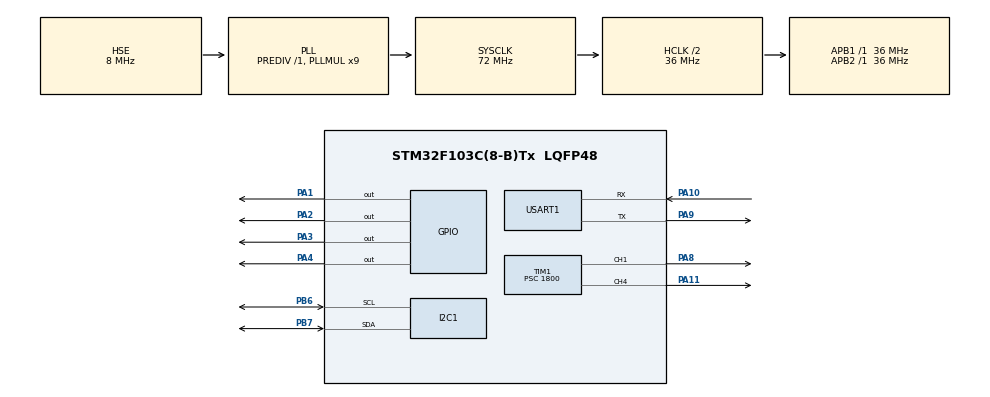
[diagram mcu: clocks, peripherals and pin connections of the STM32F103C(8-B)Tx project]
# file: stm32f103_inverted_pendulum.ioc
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Mcu.Family=STM32F1
Mcu.Name=STM32F103C(8-B)Tx
Mcu.Package=LQFP48
NVIC.PriorityGroup=NVIC_PRIORITYGROUP_4
NVIC.TIM2_IRQn=true\:0\:0\:false\:false\:true\:true
PA1.Signal=GPIO_Output
PA10.Mode=Asynchronous
PA10.Signal=USART1_RX
PA11.Signal=S_TIM1_CH4
PA2.Signal=GPIO_Output
PA3.Signal=GPIO_Output
PA4.Signal=GPIO_Output
PA8.Signal=S_TIM1_CH1
PA9.Mode=Asynchronous
PA9.Signal=USART1_TX
PB6.Mode=I2C
PB6.Signal=I2C1_SCL
PB7.Mode=I2C
PB7.Signal=I2C1_SDA
PD0-OSC_IN.Mode=HSE-External-Oscillator
PD0-OSC_IN.Signal=RCC_OSC_IN
PD1-OSC_OUT.Mode=HSE-External-Oscillator
PD1-OSC_OUT.Signal=RCC_OSC_OUT
ProjectManager.HeapSize=0x200
ProjectManager.StackSize=0x400
ProjectManager.TargetToolchain=SW4STM32
RCC.AHBCLKDivider=RCC_SYSCLK_DIV2
RCC.AHBFreq_Value=36000000
RCC.APB1Freq_Value=36000000
RCC.APB1TimFreq_Value=36000000
RCC.APB2Freq_Value=36000000
RCC.APB2TimFreq_Value=36000000
RCC.HCLKFreq_Value=36000000
RCC.PLLMUL=RCC_PLL_MUL9
RCC.PLLSourceVirtual=RCC_PLLSOURCE_HSE
RCC.SYSCLKFreq_VALUE=72000000
RCC.SYSCLKSource=RCC_SYSCLKSOURCE_PLLCLK
RCC.USBFreq_Value=72000000
SH.S_TIM1_CH1.0=TIM1_CH1,PWM Generation1 CH1
SH.S_TIM1_CH4.0=TIM1_CH4,PWM Generation4 CH4
TIM1.Channel-PWM\ Generation1\ CH1=TIM_CHANNEL_1
TIM1.Channel-PWM\ Generation4\ CH4=TIM_CHANNEL_4
TIM1.Period=100
TIM1.Prescaler=1800
TIM2.Period=20
TIM2.Prescaler=36000
TIM2.TIM_MasterOutputTrigger=TIM_TRGO_UPDATE
USART1.VirtualMode=VM_ASYNC
VP_SYS_VS_ND.Mode=No_Debug
VP_TIM1_VS_ClockSourceINT.Mode=Internal
VP_TIM2_VS_ClockSourceINT.Mode=Internal
board=stm32f103_inverted_pendulum

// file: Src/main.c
/**
 ******************************************************************************
 * File Name          : main.c
 * Description        : Main program body
 ******************************************************************************
 ** This notice applies to any and all portions of this file
 * that are not between comment pairs USER CODE BEGIN and
 * USER CODE END. Other portions of this file, whether
 * inserted by the user or by software development tools
 * are owned by their respective copyright owners.
 *
 * COPYRIGHT(c) 2018 STMicroelectronics
 *
 * Redistribution and use in source and binary forms, with or without modification,
 * are permitted provided that the following conditions are met:
 *   1. Redistributions of source code must retain the above copyright notice,
 *      this list of conditions and the following disclaimer.
 *   2. Redistributions in binary form must reproduce the above copyright notice,
 *      this list of conditions and the following disclaimer in the documentation
 *      and/or other materials provided with the distribution.
 *   3. Neither the name of STMicroelectronics nor the names of its contributors
 *      may be used to endorse or promote products derived from this software
 *      without specific prior written permission.
 *
 * THIS SOFTWARE IS PROVIDED BY THE COPYRIGHT HOLDERS AND CONTRIBUTORS "AS IS"
 * AND ANY EXPRESS OR IMPLIED WARRANTIES, INCLUDING, BUT NOT LIMITED TO, THE
 * IMPLIED WARRANTIES OF MERCHANTABILITY AND FITNESS FOR A PARTICULAR PURPOSE ARE
 * DISCLAIMED. IN NO EVENT SHALL THE COPYRIGHT HOLDER OR CONTRIBUTORS BE LIABLE
 * FOR ANY DIRECT, INDIRECT, INCIDENTAL, SPECIAL, EXEMPLARY, OR CONSEQUENTIAL
 * DAMAGES (INCLUDING, BUT NOT LIMITED TO, PROCUREMENT OF SUBSTITUTE GOODS OR
 * SERVICES; LOSS OF USE, DATA, OR PROFITS; OR BUSINESS INTERRUPTION) HOWEVER
 * CAUSED AND ON ANY THEORY OF LIABILITY, WHETHER IN CONTRACT, STRICT LIABILITY,
 * OR TORT (INCLUDING NEGLIGENCE OR OTHERWISE) ARISING IN ANY WAY OUT OF THE USE
 * OF THIS SOFTWARE, EVEN IF ADVISED OF THE POSSIBILITY OF SUCH DAMAGE.
 *
 ******************************************************************************
 */

#include "main.h"
#include "stm32f1xx_hal.h"

/* USER CODE BEGIN Includes */
#include "MPU6050/MPU6050.h"
#include <string.h>
#include <inttypes.h>
#include <stdbool.h>

/* USER CODE END Includes */

I2C_HandleTypeDef hi2c1;

TIM_HandleTypeDef htim1;
TIM_HandleTypeDef htim2;

UART_HandleTypeDef huart1;

/* USER CODE BEGIN PV */
/* Private variables ---------------------------------------------------------*/

/* USER CODE END PV */

void SystemClock_Config(void);
static void MX_GPIO_Init(void);
static void MX_I2C1_Init(void);
static void MX_USART1_UART_Init(void);
static void MX_TIM2_Init(void);
static void MX_TIM1_Init(void);

void HAL_TIM_MspPostInit(TIM_HandleTypeDef *htim);

/* USER CODE BEGIN PFP */
/* Private function prototypes -----------------------------------------------*/

/* USER CODE END PFP */

/* USER CODE BEGIN 0 */

/*----------------------------------------------------------
 *	Platform dependent function that performs an I2C write
 *	to a register.
 *
 *	params:
 *
 *	addr -- 8 bit i2c address to write to.
 *
 *	reg -- 8 bit register to write to.
 *
 *	*data -- 8 bit wide data buffer that holds data one
 *	wishes to write to.
 *
 *	len -- number of bytes to write.
 *---------------------------------------------------------*/
uint32_t I2C_TIMEOUT = 50;
void _i2c_write_reg(uint8_t addr, uint8_t reg, uint8_t *data, uint16_t len) {
	HAL_I2C_Mem_Write(&hi2c1, addr, reg,
	I2C_MEMADD_SIZE_8BIT, data, len, I2C_TIMEOUT);
}

/*----------------------------------------------------------
 *	Platform dependent function that performs an I2C read
 *	from a register.
 *
 *	params:
 *
 *	addr -- 8 bit i2c address to read from.
 *
 *	reg -- 8 bit register to start reading from.
 *
 *	*data -- 8 bit wide data buffer to holds data that will
 *	be read.
 *
 *	len -- number of bytes to read.
 *---------------------------------------------------------*/
void _i2c_read_reg(uint8_t addr, uint8_t reg, uint8_t *data, uint16_t len) {
	HAL_I2C_Mem_Read(&hi2c1, addr, reg,
	I2C_MEMADD_SIZE_8BIT, data, len, I2C_TIMEOUT);
}

/*-----------------------------------------
 *	Platform dependent function that
 *	returns the number of milliseconds
 *	elapsed since boot as an unsigned 32
 *	bit value.
 *----------------------------------------*/
uint32_t _get_ms_tick(void) {
	return HAL_GetTick();
}

/*-----------------------------------------
 *	Platform dependent function that sends
 *	a string to the onboard USART.
 *
 *	params:
 *
 *	*str -- string that will be sent
 *
 *	len -- length of the string to be
 *	sent.
 *----------------------------------------*/
uint32_t UART_TIMEOUT = 50;
void uart_print(char *str, uint32_t len) {
	HAL_UART_Transmit(&huart1, (uint8_t *) str, len, 50);
}

//character buffer that is used for concatenating and
//constructing strings.
char strbuf[64];

/*-------------------------------------------
 *	Function that flushes the string buffer.
 *------------------------------------------*/
void flush_strbuf() {
	memset(strbuf, 0, 64);
}

/********************** ROBOT BALANCING LOGIC *****************************/
//PWM MIN/MAX BOUNDS
uint8_t maxPwm = 100;
uint8_t minPwm = 0;

float setpoint = 90.00;
float error = 0;
float lastError = 0;

float Kp = 0.0;
float Ki = 0.0;
float Kd = 0.0;

float P;
float I;
float D;

//struct for holding IMU readings
Mpu6050 mpu6050;

//floats for holding pitch/roll angles
float pitch, roll;

/*
Interrupt Service Routine that reads IMU measurements, and updates
a PID loop at a rate of 50Hz. Controlled by TIMER2.
*/
void HAL_TIM_PeriodElapsedCallback(TIM_HandleTypeDef *htim) {

	UNUSED(htim);

	//update IMU, and calculate pitch/roll angles
	mpu6050_update(&mpu6050);
	//mpu6050_calc_pitch_roll(&mpu6050, &pitch, &roll);
	mpu6050_calc_pitch(&mpu6050, &pitch);

	/********************* PID CALCULATION *************************/

	//calculate error
	error = setpoint - pitch;

	//calculate Proportional term
	P = Kp * error;

	//calculate Integral term. Account for wind-up
	I += (Ki * error);
	if (I > maxPwm)
		I = maxPwm;
	else if (I < minPwm)
		I = minPwm;

	////calculate Derivative term
	D = -Kd * (error - lastError);

	//total PID value
	float pid_pwm = P + I + D;

	//max sure pwm is bound between allowed min/max thresholds
	uint8_t out_pwm;
	if (pid_pwm > maxPwm)
		out_pwm = maxPwm;
	else if (pid_pwm < minPwm)
		out_pwm = minPwm;
	else
		out_pwm = (uint8_t) pid_pwm;

	lastError = error;

	/******************** SET MOTOR PWM & DIRECTION *********************/

	//Set H-Bridge direction
	HAL_GPIO_WritePin(GPIOA, GPIO_PIN_1,
			(error > 0.0) ? GPIO_PIN_SET : GPIO_PIN_RESET);
	HAL_GPIO_WritePin(GPIOA, GPIO_PIN_2,
			(error > 0.0) ? GPIO_PIN_RESET : GPIO_PIN_SET);

	HAL_GPIO_WritePin(GPIOA, GPIO_PIN_3,
			(error > 0.0) ? GPIO_PIN_SET : GPIO_PIN_RESET);
	HAL_GPIO_WritePin(GPIOA, GPIO_PIN_4,
			(error > 0.0) ? GPIO_PIN_RESET : GPIO_PIN_SET);

	//update PWM to H-Bridge. PWM controlled by TIMER1
	htim1.Instance->CCR1 = out_pwm;
	htim1.Instance->CCR4 = out_pwm;

	/*******************************************************************/

}

/* USER CODE END 0 */

int main(void) {

	/* MCU Configuration----------------------------------------------------------*/

	/* Reset of all peripherals, Initializes the Flash interface and the Systick. */
	HAL_Init();

	/* Configure the system clock */
	SystemClock_Config();

	/* Initialize all configured peripherals */
	MX_GPIO_Init();
	MX_I2C1_Init();
	MX_USART1_UART_Init();
	MX_TIM2_Init();
	MX_TIM1_Init();

	/* USER CODE BEGIN 2 */

	//Populate mpu6050 function pointers to platform dependent functions
	//declared above.
	I2C_Write_Reg = _i2c_write_reg;
	I2C_Read_Reg = _i2c_read_reg;
	Get_ms_tick = _get_ms_tick;

	HAL_TIM_PWM_Start(&htim1, TIM_CHANNEL_1);
	HAL_TIM_PWM_Start(&htim1, TIM_CHANNEL_4);
	mpu6050_init(&mpu6050);

	HAL_TIM_Base_Start_IT(&htim2);
	/* USER CODE END 2 */

	/* Infinite loop */
	while (1) {

	}

}

/** System Clock Configuration
 */
void SystemClock_Config(void) {

	RCC_OscInitTypeDef RCC_OscInitStruct;
	RCC_ClkInitTypeDef RCC_ClkInitStruct;

	/**Initializes the CPU, AHB and APB busses clocks
	 */
	RCC_OscInitStruct.OscillatorType = RCC_OSCILLATORTYPE_HSE;
	RCC_OscInitStruct.HSEState = RCC_HSE_ON;
	RCC_OscInitStruct.HSEPredivValue = RCC_HSE_PREDIV_DIV1;
	RCC_OscInitStruct.HSIState = RCC_HSI_ON;
	RCC_OscInitStruct.PLL.PLLState = RCC_PLL_ON;
	RCC_OscInitStruct.PLL.PLLSource = RCC_PLLSOURCE_HSE;
	RCC_OscInitStruct.PLL.PLLMUL = RCC_PLL_MUL9;
	if (HAL_RCC_OscConfig(&RCC_OscInitStruct) != HAL_OK) {
		_Error_Handler(__FILE__, __LINE__);
	}

	/**Initializes the CPU, AHB and APB busses clocks
	 */
	RCC_ClkInitStruct.ClockType = RCC_CLOCKTYPE_HCLK | RCC_CLOCKTYPE_SYSCLK
			| RCC_CLOCKTYPE_PCLK1 | RCC_CLOCKTYPE_PCLK2;
	RCC_ClkInitStruct.SYSCLKSource = RCC_SYSCLKSOURCE_PLLCLK;
	RCC_ClkInitStruct.AHBCLKDivider = RCC_SYSCLK_DIV2;
	RCC_ClkInitStruct.APB1CLKDivider = RCC_HCLK_DIV1;
	RCC_ClkInitStruct.APB2CLKDivider = RCC_HCLK_DIV1;

	if (HAL_RCC_ClockConfig(&RCC_ClkInitStruct, FLASH_LATENCY_2) != HAL_OK) {
		_Error_Handler(__FILE__, __LINE__);
	}

	/**Configure the Systick interrupt time
	 */
	HAL_SYSTICK_Config(HAL_RCC_GetHCLKFreq() / 1000);

	/**Configure the Systick
	 */
	HAL_SYSTICK_CLKSourceConfig(SYSTICK_CLKSOURCE_HCLK);

	/* SysTick_IRQn interrupt configuration */
	HAL_NVIC_SetPriority(SysTick_IRQn, 0, 0);
}

/* I2C1 init function */
static void MX_I2C1_Init(void) {

	hi2c1.Instance = I2C1;
	hi2c1.Init.ClockSpeed = 400000;
	hi2c1.Init.DutyCycle = I2C_DUTYCYCLE_2;
	hi2c1.Init.OwnAddress1 = 0;
	hi2c1.Init.AddressingMode = I2C_ADDRESSINGMODE_7BIT;
	hi2c1.Init.DualAddressMode = I2C_DUALADDRESS_DISABLE;
	hi2c1.Init.OwnAddress2 = 0;
	hi2c1.Init.GeneralCallMode = I2C_GENERALCALL_DISABLE;
	hi2c1.Init.NoStretchMode = I2C_NOSTRETCH_DISABLE;
	if (HAL_I2C_Init(&hi2c1) != HAL_OK) {
		_Error_Handler(__FILE__, __LINE__);
	}

}

/* TIM1 init function */
static void MX_TIM1_Init(void) {

	TIM_ClockConfigTypeDef sClockSourceConfig;
	TIM_MasterConfigTypeDef sMasterConfig;
	TIM_OC_InitTypeDef sConfigOC;
	TIM_BreakDeadTimeConfigTypeDef sBreakDeadTimeConfig;

	htim1.Instance = TIM1;
	htim1.Init.Prescaler = 1800;
	htim1.Init.CounterMode = TIM_COUNTERMODE_UP;
	htim1.Init.Period = 100;
	htim1.Init.ClockDivision = TIM_CLOCKDIVISION_DIV1;
	htim1.Init.RepetitionCounter = 0;
	htim1.Init.AutoReloadPreload = TIM_AUTORELOAD_PRELOAD_DISABLE;
	if (HAL_TIM_Base_Init(&htim1) != HAL_OK) {
		_Error_Handler(__FILE__, __LINE__);
	}

	sClockSourceConfig.ClockSource = TIM_CLOCKSOURCE_INTERNAL;
	if (HAL_TIM_ConfigClockSource(&htim1, &sClockSourceConfig) != HAL_OK) {
		_Error_Handler(__FILE__, __LINE__);
	}

	if (HAL_TIM_PWM_Init(&htim1) != HAL_OK) {
		_Error_Handler(__FILE__, __LINE__);
	}

	sMasterConfig.MasterOutputTrigger = TIM_TRGO_RESET;
	sMasterConfig.MasterSlaveMode = TIM_MASTERSLAVEMODE_DISABLE;
	if (HAL_TIMEx_MasterConfigSynchronization(&htim1, &sMasterConfig)
			!= HAL_OK) {
		_Error_Handler(__FILE__, __LINE__);
	}

	sConfigOC.OCMode = TIM_OCMODE_PWM1;
	sConfigOC.Pulse = 0;
	sConfigOC.OCPolarity = TIM_OCPOLARITY_HIGH;
	sConfigOC.OCNPolarity = TIM_OCNPOLARITY_HIGH;
	sConfigOC.OCFastMode = TIM_OCFAST_DISABLE;
	sConfigOC.OCIdleState = TIM_OCIDLESTATE_RESET;
	sConfigOC.OCNIdleState = TIM_OCNIDLESTATE_RESET;
	if (HAL_TIM_PWM_ConfigChannel(&htim1, &sConfigOC, TIM_CHANNEL_1)
			!= HAL_OK) {
		_Error_Handler(__FILE__, __LINE__);
	}

	if (HAL_TIM_PWM_ConfigChannel(&htim1, &sConfigOC, TIM_CHANNEL_4)
			!= HAL_OK) {
		_Error_Handler(__FILE__, __LINE__);
	}

	sBreakDeadTimeConfig.OffStateRunMode = TIM_OSSR_DISABLE;
	sBreakDeadTimeConfig.OffStateIDLEMode = TIM_OSSI_DISABLE;
	sBreakDeadTimeConfig.LockLevel = TIM_LOCKLEVEL_OFF;
	sBreakDeadTimeConfig.DeadTime = 0;
	sBreakDeadTimeConfig.BreakState = TIM_BREAK_DISABLE;
	sBreakDeadTimeConfig.BreakPolarity = TIM_BREAKPOLARITY_HIGH;
	sBreakDeadTimeConfig.AutomaticOutput = TIM_AUTOMATICOUTPUT_DISABLE;
	if (HAL_TIMEx_ConfigBreakDeadTime(&htim1, &sBreakDeadTimeConfig)
			!= HAL_OK) {
		_Error_Handler(__FILE__, __LINE__);
	}

	HAL_TIM_MspPostInit(&htim1);

}

/* TIM2 init function */
static void MX_TIM2_Init(void) {

	TIM_ClockConfigTypeDef sClockSourceConfig;
	TIM_MasterConfigTypeDef sMasterConfig;

	htim2.Instance = TIM2;
	htim2.Init.Prescaler = 36000;
	htim2.Init.CounterMode = TIM_COUNTERMODE_UP;
	htim2.Init.Period = 20;
	htim2.Init.ClockDivision = TIM_CLOCKDIVISION_DIV1;
	htim2.Init.AutoReloadPreload = TIM_AUTORELOAD_PRELOAD_DISABLE;
	if (HAL_TIM_Base_Init(&htim2) != HAL_OK) {
		_Error_Handler(__FILE__, __LINE__);
	}

	sClockSourceConfig.ClockSource = TIM_CLOCKSOURCE_INTERNAL;
	if (HAL_TIM_ConfigClockSource(&htim2, &sClockSourceConfig) != HAL_OK) {
		_Error_Handler(__FILE__, __LINE__);
	}

	sMasterConfig.MasterOutputTrigger = TIM_TRGO_UPDATE;
	sMasterConfig.MasterSlaveMode = TIM_MASTERSLAVEMODE_DISABLE;
	if (HAL_TIMEx_MasterConfigSynchronization(&htim2, &sMasterConfig)
			!= HAL_OK) {
		_Error_Handler(__FILE__, __LINE__);
	}

}

/* USART1 init function */
static void MX_USART1_UART_Init(void) {

	huart1.Instance = USART1;
	huart1.Init.BaudRate = 115200;
	huart1.Init.WordLength = UART_WORDLENGTH_8B;
	huart1.Init.StopBits = UART_STOPBITS_1;
	huart1.Init.Parity = UART_PARITY_NONE;
	huart1.Init.Mode = UART_MODE_TX_RX;
	huart1.Init.HwFlowCtl = UART_HWCONTROL_NONE;
	huart1.Init.OverSampling = UART_OVERSAMPLING_16;
	if (HAL_UART_Init(&huart1) != HAL_OK) {
		_Error_Handler(__FILE__, __LINE__);
	}

}

/** Configure pins as
 * Analog
 * Input
 * Output
 * EVENT_OUT
 * EXTI
 */
static void MX_GPIO_Init(void) {

	GPIO_InitTypeDef GPIO_InitStruct;

	/* GPIO Ports Clock Enable */
	__HAL_RCC_GPIOD_CLK_ENABLE()
	;
	__HAL_RCC_GPIOA_CLK_ENABLE()
	;
	__HAL_RCC_GPIOB_CLK_ENABLE()
	;

	/*Configure GPIO pin Output Level */
	HAL_GPIO_WritePin(GPIOA, GPIO_PIN_1 | GPIO_PIN_2 | GPIO_PIN_3 | GPIO_PIN_4,
			GPIO_PIN_RESET);

	/*Configure GPIO pins : PA1 PA2 PA3 PA4 */
	GPIO_InitStruct.Pin = GPIO_PIN_1 | GPIO_PIN_2 | GPIO_PIN_3 | GPIO_PIN_4;
	GPIO_InitStruct.Mode = GPIO_MODE_OUTPUT_PP;
	GPIO_InitStruct.Speed = GPIO_SPEED_FREQ_LOW;
	HAL_GPIO_Init(GPIOA, &GPIO_InitStruct);

}

void _Error_Handler(char * file, int line) {
	while (1) {
	}
}

/************************ (C) COPYRIGHT STMicroelectronics *****END OF FILE****/
